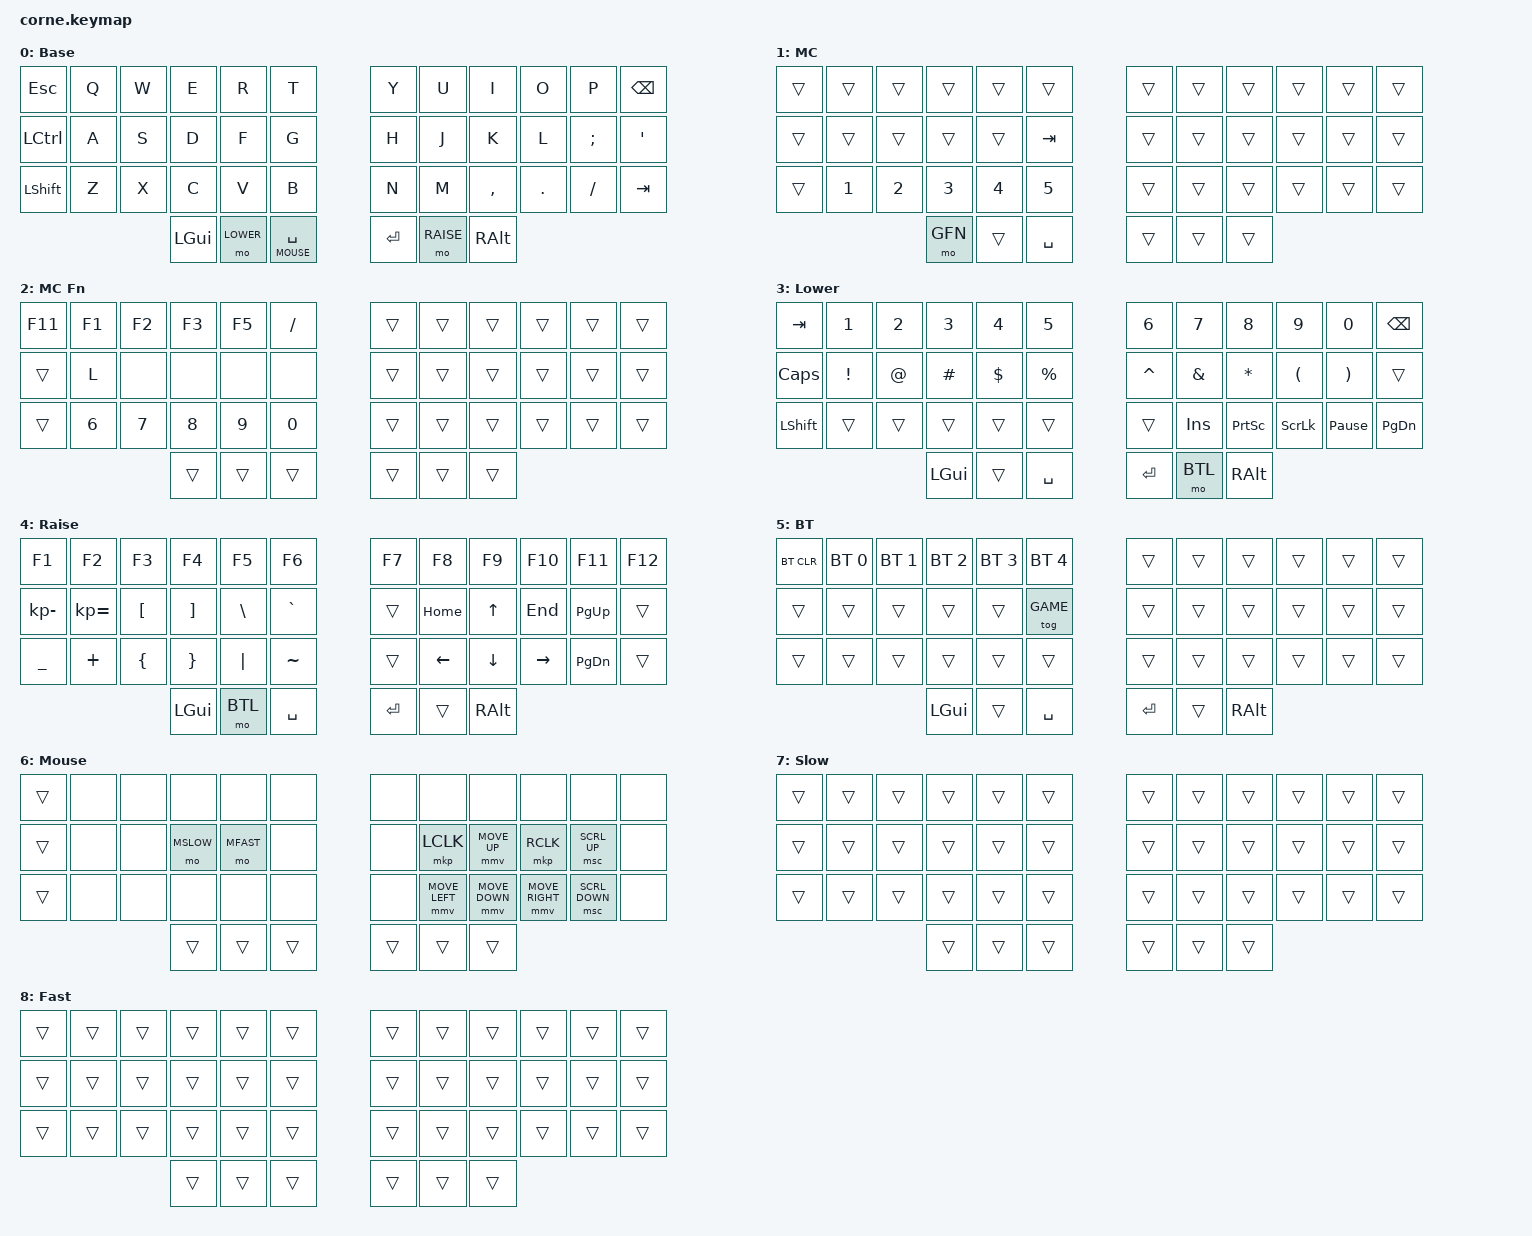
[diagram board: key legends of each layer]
/*
 * Corne keymap — layers 0-3 match the seller (KBDKSP) stock firmware,
 * decoded from KBDKSP_Corne_nicenanov2_ZMK_left.uf2.
 * New: MOUSE layer on hold SPACE; GAME layer (toggle: L1+L2 then G) is a
 * Minecraft layout: everything on the left half, SPACE a plain holdable key.
 */

#include <behaviors.dtsi>
#include <dt-bindings/zmk/keys.h>
#include <dt-bindings/zmk/bt.h>
#include <dt-bindings/zmk/pointing.h>
#include <input/processors.dtsi>

#define BASE  0
#define GAME  1
#define GFN   2
#define LOWER 3
#define RAISE 4
#define BTL   5
#define MOUSE 6
#define MSLOW 7
#define MFAST 8

// While holding D / F in the mouse layer, cursor speed is scaled.
&mmv_input_listener {
    slow {
        layers = <MSLOW>;
        input-processors = <&zip_xy_scaler 1 3>;
    };
    fast {
        layers = <MFAST>;
        input-processors = <&zip_xy_scaler 3 1>;
    };
};

/ {
    behaviors {
        // Tap = space, hold = mouse layer. Never a hold while typing
        // (needs 150ms idle before the press).
        spc_mouse: spc_mouse {
            compatible = "zmk,behavior-hold-tap";
            #binding-cells = <2>;
            flavor = "balanced";
            tapping-term-ms = <200>;
            quick-tap-ms = <175>;
            require-prior-idle-ms = <150>;
            bindings = <&mo>, <&kp>;
        };
    };

    keymap {
        compatible = "zmk,keymap";

        base_layer {
            display-name = "Base";
            bindings = <
   &kp ESC    &kp Q &kp W &kp E    &kp R              &kp T          &kp Y    &kp U &kp I     &kp O   &kp P    &kp BSPC
   &kp LCTRL  &kp A &kp S &kp D    &kp F              &kp G          &kp H    &kp J &kp K     &kp L   &kp SEMI &kp SQT
   &kp LSHFT  &kp Z &kp X &kp C    &kp V              &kp B          &kp N    &kp M &kp COMMA &kp DOT &kp FSLH &kp TAB
                          &kp LGUI &mo LOWER          &spc_mouse MOUSE SPACE  &kp RET &mo RAISE &kp RALT
            >;
        };

        // Minecraft, toggled from the BT layer (G). Everything on the left half:
        // G = Tab, Z-B = hotbar 1-5, GUI thumb = MC Fn, plain SPACE (holdable).
        // Sits right above BASE so LOWER/RAISE still win while held.
        game_layer {
            display-name = "MC";
            bindings = <
   &trans &trans  &trans  &trans  &trans  &trans      &trans &trans &trans &trans &trans &trans
   &trans &trans  &trans  &trans  &trans  &kp TAB     &trans &trans &trans &trans &trans &trans
   &trans &kp N1  &kp N2  &kp N3  &kp N4  &kp N5      &trans &trans &trans &trans &trans &trans
                          &mo GFN &trans  &kp SPACE   &trans &trans &trans
            >;
        };

        // Hold GUI thumb in MC: F-keys on top, L = advancements, hotbar 6-9/0.
        game_fn_layer {
            display-name = "MC Fn";
            bindings = <
   &kp F11 &kp F1 &kp F2 &kp F3 &kp F5 &kp FSLH    &trans &trans &trans &trans &trans &trans
   &trans  &kp L  &none  &none  &none  &none       &trans &trans &trans &trans &trans &trans
   &trans  &kp N6 &kp N7 &kp N8 &kp N9 &kp N0      &trans &trans &trans &trans &trans &trans
                         &trans &trans &trans      &trans &trans &trans
            >;
        };

        lower_layer {
            display-name = "Lower";
            bindings = <
   &kp TAB   &kp N1   &kp N2 &kp N3   &kp N4   &kp N5          &kp N6    &kp N7   &kp N8    &kp N9   &kp N0    &kp BSPC
   &kp CAPS  &kp EXCL &kp AT &kp HASH &kp DLLR &kp PRCNT       &kp CARET &kp AMPS &kp STAR  &kp LPAR &kp RPAR  &trans
   &kp LSHFT &trans   &trans &trans   &trans   &trans          &trans    &kp INS  &kp PSCRN &kp SLCK &kp PAUSE_BREAK &kp PG_DN
                             &kp LGUI &trans   &kp SPACE       &kp RET   &mo BTL  &kp RALT
            >;
        };

        raise_layer {
            display-name = "Raise";
            bindings = <
   &kp F1       &kp F2       &kp F3   &kp F4   &kp F5   &kp F6       &kp F7  &kp F8   &kp F9   &kp F10   &kp F11   &kp F12
   &kp KP_MINUS &kp KP_EQUAL &kp LBKT &kp RBKT &kp BSLH &kp GRAVE    &trans  &kp HOME &kp UP   &kp END   &kp PG_UP &trans
   &kp UNDER    &kp PLUS     &kp LBRC &kp RBRC &kp PIPE &kp TILDE    &trans  &kp LEFT &kp DOWN &kp RIGHT &kp PG_DN &trans
                                      &kp LGUI &mo BTL  &kp SPACE    &kp RET &trans   &kp RALT
            >;
        };

        bt_layer {
            display-name = "BT";
            bindings = <
   &bt BT_CLR &bt BT_SEL 0 &bt BT_SEL 1 &bt BT_SEL 2 &bt BT_SEL 3 &bt BT_SEL 4    &trans &trans &trans &trans &trans &trans
   &trans     &trans       &trans       &trans       &trans       &tog GAME       &trans &trans &trans &trans &trans &trans
   &trans     &trans       &trans       &trans       &trans       &trans          &trans &trans &trans &trans &trans &trans
                                        &kp LGUI     &trans       &kp SPACE       &kp RET &trans &kp RALT
            >;
        };

        // Hold SPACE. Right: K/M/,/. move (same as RAISE arrows), J/L left/right click, ;// scroll.
        // Left: hold F = fast (3x), hold D = slow (1/3). Shift+scroll = horizontal.
        mouse_layer {
            display-name = "Mouse";
            bindings = <
   &trans &none &none &none     &none     &none     &none &none          &none          &none           &none          &none
   &trans &none &none &mo MSLOW &mo MFAST &none     &none &mkp LCLK      &mmv MOVE_UP   &mkp RCLK       &msc SCRL_UP   &none
   &trans &none &none &none     &none     &none     &none &mmv MOVE_LEFT &mmv MOVE_DOWN &mmv MOVE_RIGHT &msc SCRL_DOWN &none
                      &trans    &trans    &trans    &trans &trans        &trans
            >;
        };

        mouse_slow_layer {
            display-name = "Slow";
            bindings = <
   &trans &trans &trans &trans &trans &trans    &trans &trans &trans &trans &trans &trans
   &trans &trans &trans &trans &trans &trans    &trans &trans &trans &trans &trans &trans
   &trans &trans &trans &trans &trans &trans    &trans &trans &trans &trans &trans &trans
                        &trans &trans &trans    &trans &trans &trans
            >;
        };

        mouse_fast_layer {
            display-name = "Fast";
            bindings = <
   &trans &trans &trans &trans &trans &trans    &trans &trans &trans &trans &trans &trans
   &trans &trans &trans &trans &trans &trans    &trans &trans &trans &trans &trans &trans
   &trans &trans &trans &trans &trans &trans    &trans &trans &trans &trans &trans &trans
                        &trans &trans &trans    &trans &trans &trans
            >;
        };
    };
};
